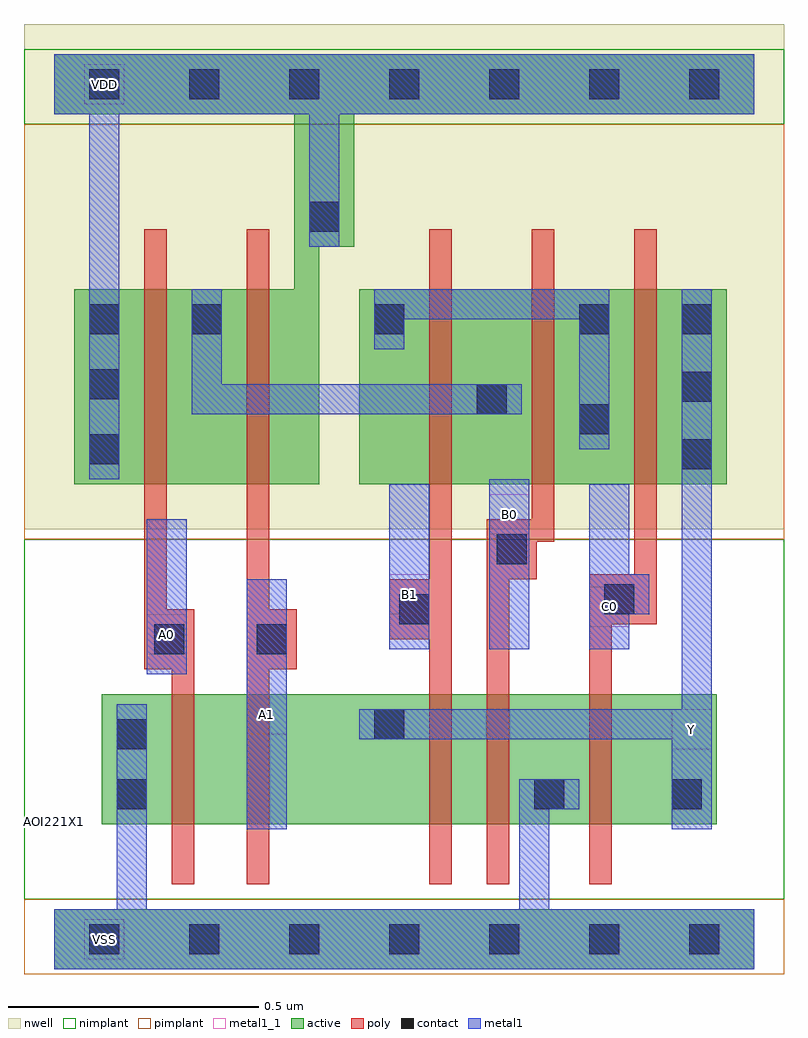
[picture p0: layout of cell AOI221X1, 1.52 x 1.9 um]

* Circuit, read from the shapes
.subckt AOI221X1 A0 A1 B0 B1 C0 VDD VSS Y
M1 n1 A0 VSS VSS nfet w=0.26u l=0.045u
M2 Y A1 n1 VSS nfet w=0.26u l=0.045u
M3 n2 B1 Y VSS nfet w=0.26u l=0.045u
M4 VSS B0 n2 VSS nfet w=0.26u l=0.045u
M5 Y C0 VSS VSS nfet w=0.26u l=0.045u
M6 n3 A0 VDD VDD pfet w=0.39u l=0.045u
M7 VDD A1 n3 VDD pfet w=0.39u l=0.045u
M8 n3 B1 n4 VDD pfet w=0.39u l=0.045u
M9 n4 B0 n3 VDD pfet w=0.39u l=0.045u
M10 Y C0 n4 VDD pfet w=0.39u l=0.045u
.ends

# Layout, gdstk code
import gdstk
lib = gdstk.Library(unit=1e-6, precision=5e-10)
def R(c, l, rs):  # rectangles x0, y0, x1, y1
    for r in rs: c.add(gdstk.rectangle(r[:2], r[2:], *l))
def A(c, l, x, y, w, h, nx, ny, dx, dy):  # array of equal rectangles
    R(c, l, [(x+i*dx, y+j*dy, x+i*dx+w, y+j*dy+h) for i in range(nx) for j in range(ny)])
def P(c, l, *ps):  # polygons
    for p in ps: c.add(gdstk.Polygon(p, *l))
active = (1, 0)
nwell = (2, 0)
poly = (3, 0)
nimplant = (4, 0)
pimplant = (5, 0)
contact = (6, 0)
metal1 = (7, 0)
metal1_1 = (7, 1)

aoi221x1 = lib.new_cell('AOI221X1')
R(aoi221x1, active, [(0,-0.06,1.4,0.06), (0.095,0.23,1.325,0.49), (0.61,0.91,1.345,1.3)])
P(aoi221x1, active, [(0,1.77),(1.4,1.77),(1.4,1.65),(0.6,1.65),(0.6,1.385),(0.53,1.385),(0.53,0.91),(0.04,0.91),(0.04,1.3),(0.48,1.3),(0.48,1.65),(0,1.65)])
R(aoi221x1, nwell, [(-0.06,0.82,1.46,1.83)])
P(aoi221x1, poly, [(0.18,1.42),(0.225,1.42),(0.225,0.66),(0.28,0.66),(0.28,0.11),(0.235,0.11),(0.235,0.54),(0.18,0.54)],
  [(0.385,1.42),(0.43,1.42),(0.43,0.66),(0.485,0.66),(0.485,0.54),(0.43,0.54),(0.43,0.11),(0.385,0.11)],
  [(0.75,1.42),(0.795,1.42),(0.795,0.11),(0.75,0.11),(0.75,0.6),(0.67,0.6),(0.67,0.72),(0.75,0.72)],
  [(0.955,1.42),(1,1.42),(1,0.795),(0.965,0.795),(0.965,0.72),(0.91,0.72),(0.91,0.11),(0.865,0.11),(0.865,0.84),(0.955,0.84)],
  [(1.16,1.42),(1.205,1.42),(1.205,0.63),(1.115,0.63),(1.115,0.11),(1.07,0.11),(1.07,0.73),(1.16,0.73)])
R(aoi221x1, nimplant, [(-0.06,0.08,1.46,0.8), (-0.06,1.63,1.46,1.78)])
R(aoi221x1, pimplant, [(-0.06,-0.07,1.46,0.08), (-0.06,0.8,1.46,1.63)])
A(aoi221x1, contact, 0.07, -0.03, 0.06, 0.06, 7, 2, 0.2, 1.71)
A(aoi221x1, contact, 1.255, 0.94, 0.06, 0.06, 1, 3, 0, 0.135)
A(aoi221x1, contact, 0.07, 0.95, 0.06, 0.06, 1, 3, 0, 0.13)
R(aoi221x1, contact, [(0.125,0.26,0.185,0.32), (0.96,0.26,1.02,0.32), (1.235,0.26,1.295,0.32), (0.125,0.38,0.185,0.44), (0.64,0.4,0.7,0.46), (0.2,0.57,0.26,0.63), (0.405,0.57,0.465,0.63), (0.69,0.63,0.75,0.69), (1.1,0.65,1.16,0.71), (0.885,0.75,0.945,0.81), (1.05,1.01,1.11,1.07), (0.845,1.05,0.905,1.11), (0.275,1.21,0.335,1.27), (0.64,1.21,0.7,1.27), (1.05,1.21,1.11,1.27), (0.51,1.415,0.57,1.475)])
R(aoi221x1, metal1, [(0.385,0.22,0.465,0.72), (0.185,0.53,0.265,0.84), (0.67,0.58,0.75,0.91), (0.87,0.58,0.95,0.92)])
P(aoi221x1, metal1, [(0,1.77),(1.4,1.77),(1.4,1.65),(0.57,1.65),(0.57,1.385),(0.51,1.385),(0.51,1.65),(0.13,1.65),(0.13,0.92),(0.07,0.92),(0.07,1.65),(0,1.65)],
  [(0.275,1.3),(0.335,1.3),(0.335,1.11),(0.935,1.11),(0.935,1.05),(0.275,1.05)],
  [(0.64,1.3),(1.11,1.3),(1.11,0.98),(1.05,0.98),(1.05,1.24),(0.7,1.24),(0.7,1.18),(0.64,1.18)],
  [(1.255,1.3),(1.315,1.3),(1.315,0.22),(1.235,0.22),(1.235,0.4),(0.61,0.4),(0.61,0.46),(1.255,0.46)],
  [(1.07,0.91),(1.15,0.91),(1.15,0.73),(1.19,0.73),(1.19,0.65),(1.15,0.65),(1.15,0.58),(1.07,0.58)],
  [(0.125,0.47),(0.185,0.47),(0.185,0.06),(0.93,0.06),(0.93,0.32),(1.05,0.32),(1.05,0.26),(0.99,0.26),(0.99,0.06),(1.4,0.06),(1.4,-0.06),(0,-0.06),(0,0.06),(0.125,0.06)])
R(aoi221x1, metal1_1, [(0.06,-0.04,0.14,0.04), (1.235,0.38,1.315,0.46), (0.385,0.41,0.465,0.49), (0.185,0.57,0.265,0.65), (1.07,0.625,1.15,0.705), (0.67,0.65,0.75,0.73), (0.87,0.81,0.95,0.89), (0.06,1.67,0.14,1.75)])
aoi221x1.add(gdstk.Label('VSS', (0.1,0), layer=7, texttype=1))
aoi221x1.add(gdstk.Label('A0', (0.225,0.61), layer=7, texttype=1))
aoi221x1.add(gdstk.Label('Y', (1.275,0.42), layer=7, texttype=1))
aoi221x1.add(gdstk.Label('B1', (0.71,0.69), layer=7, texttype=1))
aoi221x1.add(gdstk.Label('B0', (0.91,0.85), layer=7, texttype=1))
aoi221x1.add(gdstk.Label('C0', (1.11,0.665), layer=7, texttype=1))
aoi221x1.add(gdstk.Label('A1', (0.425,0.45), layer=7, texttype=1))
aoi221x1.add(gdstk.Label('VDD', (0.1,1.71), layer=7, texttype=1))
aoi221x1.add(gdstk.Label('AOI221X1', (0,0.235), layer=63, texttype=0))

lib.write_gds('AOI221X1.gds')
